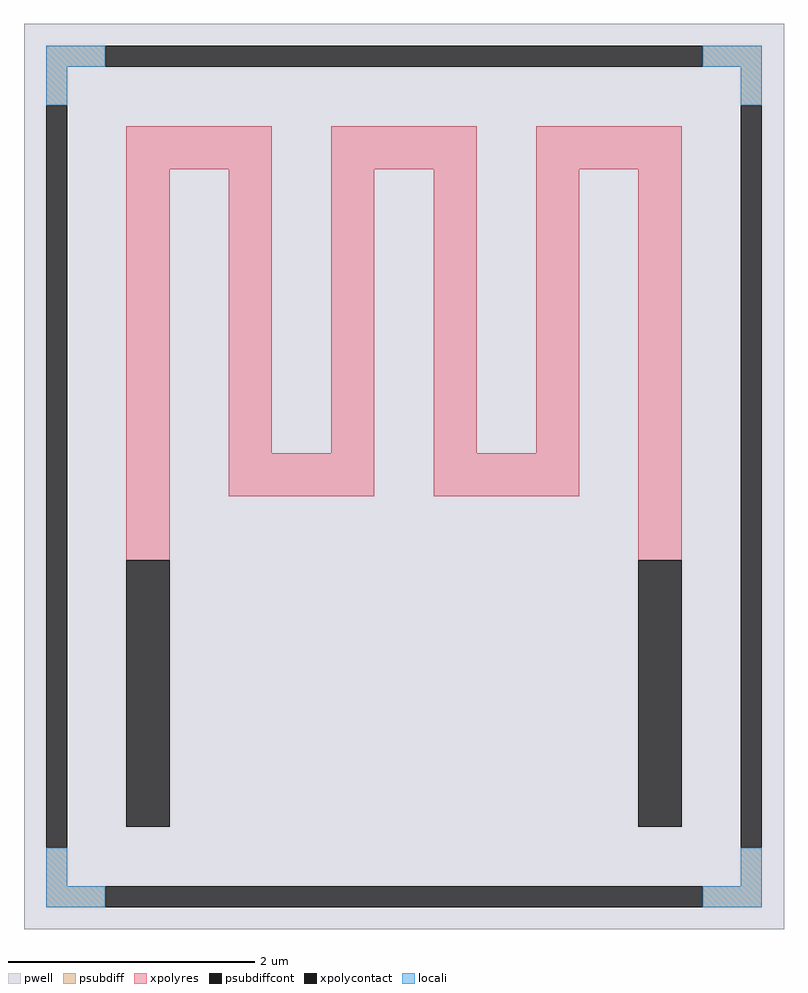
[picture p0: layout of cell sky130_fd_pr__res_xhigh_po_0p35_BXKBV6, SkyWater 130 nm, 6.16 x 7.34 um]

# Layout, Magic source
magic
tech sky130A
<< pwell >>
rect -308 -367 308 367
<< psubdiff >>
rect -290 332 -242 349
rect 242 332 290 349
rect -290 301 -273 332
rect 273 301 290 332
rect -290 -332 -273 -301
rect 273 -332 290 -301
rect -290 -349 -242 -332
rect 242 -349 290 -332
<< psubdiffcont >>
rect -242 332 242 349
rect -290 -301 -273 301
rect 273 -301 290 301
rect -242 -349 242 -332
<< xpolycontact >>
rect -225 -284 -190 -68
rect 190 -284 225 -68
<< xpolyres >>
rect -225 249 -107 284
rect -225 -68 -190 249
rect -142 19 -107 249
rect -59 249 59 284
rect -59 19 -24 249
rect -142 -16 -24 19
rect 24 19 59 249
rect 107 249 225 284
rect 107 19 142 249
rect 24 -16 142 19
rect 190 -68 225 249
<< locali >>
rect -290 332 -242 349
rect 242 332 290 349
rect -290 301 -273 332
rect 273 301 290 332
rect -290 -332 -273 -301
rect 273 -332 290 -301
rect -290 -349 -242 -332
rect 242 -349 290 -332
<< properties >>
string FIXED_BBOX -281 -340 281 340
string gencell sky130_fd_pr__res_xhigh_po_0p35
string library sky130
string parameters w 0.35 l 3 m 1 nx 6 wmin 0.350 lmin 0.50 rho 2000 val 113.932k dummy 0 dw 0.0 term 188.2 sterm 0.0 caplen 0 wmax 0.350 guard 1 glc 1 grc 1 gtc 1 gbc 1 compatible {sky130_fd_pr__res_xhigh_po_0p35  sky130_fd_pr__res_xhigh_po_0p69 sky130_fd_pr__res_xhigh_po_1p41  sky130_fd_pr__res_xhigh_po_2p85 sky130_fd_pr__res_xhigh_po_5p73} snake 1 full_metal 1 n_guard 0 hv_guard 0 vias 1 viagb 0 viagt 0 viagl 0 viagr 0
<< end >>
